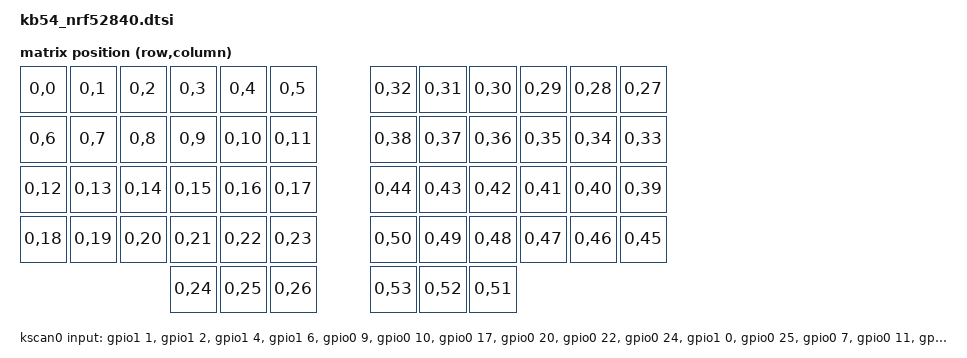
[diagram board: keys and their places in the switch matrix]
// Copyright (c) 2024 Nordic Semiconductor ASA
// SPDX-License-Identifier: Apache-2.0

/dts-v1/;
#include <nordic/nrf52840_qiaa.dtsi>
#include "kb54_nrf52840-pinctrl.dtsi"

#include <dt-bindings/zmk/matrix_transform.h>
#include <zephyr/dt-bindings/input/input-event-codes.h>
#include <zephyr/dt-bindings/regulator/nrf5x.h>


/ {
	compatible = "kb54_nrf52840";

	chosen {
		zmk,kscan = &kscan0;
		zmk,matrix-transform = &default_transform;
		zmk,battery = &fuel_gauge0;
        zephyr,display = &sharpdisp;
		zephyr,sram = &sram0;
		zephyr,flash = &flash0;
		zephyr,code-partition = &code_partition;
	};

	aliases {
		charging-pin = &pmic_charging;
		charging-err-pin = &pmic_err;
	};

	pmic {
		compatible = "gpio-keys";
		pmic_charging: pmic_charging {
			gpios = <&gpio0 29 (GPIO_PULL_UP | GPIO_ACTIVE_LOW)>;
			zephyr,code = <INPUT_KEY_0>;
		};
		pmic_err: pmic_err {
			gpios = <&gpio0 30 (GPIO_PULL_UP | GPIO_ACTIVE_LOW)>;
			zephyr,code = <INPUT_KEY_1>;
		};
	};

    default_transform: keymap_transform_0 {
        compatible = "zmk,matrix-transform";
        columns = <54>;
        rows = <1>;
        map = <
        RC(0,0)  RC(0,1)  RC(0,2)  RC(0,3)  RC(0,4) RC(0,5)		RC(0,32) RC(0,31) RC(0,30) RC(0,29) RC(0,28) RC(0,27)
        RC(0,6)  RC(0,7)  RC(0,8)  RC(0,9)  RC(0,10) RC(0,11)	RC(0,38) RC(0,37) RC(0,36) RC(0,35) RC(0,34) RC(0,33)
        RC(0,12) RC(0,13) RC(0,14) RC(0,15) RC(0,16) RC(0,17)   RC(0,44) RC(0,43) RC(0,42) RC(0,41) RC(0,40) RC(0,39)
        RC(0,18) RC(0,19) RC(0,20) RC(0,21) RC(0,22) RC(0,23)   RC(0,50) RC(0,49) RC(0,48) RC(0,47) RC(0,46) RC(0,45)
                                   RC(0,24) RC(0,25) RC(0,26)   RC(0,53) RC(0,52) RC(0,51)
        >;
    };

	kscan0: kscan {
		compatible = "zmk,kscan-gpio-direct";
		input-gpios
		= <&gpio1 1 GPIO_ACTIVE_LOW> // 1
		, <&gpio1 2 GPIO_ACTIVE_LOW> // 2
		, <&gpio1 4 GPIO_ACTIVE_LOW> // 3
		, <&gpio1 6 GPIO_ACTIVE_LOW> // 4
		, <&gpio0 9 GPIO_ACTIVE_LOW> // 5
		, <&gpio0 10 GPIO_ACTIVE_LOW> // 6
		, <&gpio0 17 GPIO_ACTIVE_LOW> // 7
		, <&gpio0 20 GPIO_ACTIVE_LOW> // 8
		, <&gpio0 22 GPIO_ACTIVE_LOW> // 9
		, <&gpio0 24 GPIO_ACTIVE_LOW> // 10
		, <&gpio1 0 GPIO_ACTIVE_LOW> // 11
		, <&gpio0 25 GPIO_ACTIVE_LOW> // 12
		, <&gpio0 7 GPIO_ACTIVE_LOW> // 13
		, <&gpio0 11 GPIO_ACTIVE_LOW> // 14
		, <&gpio0 16 GPIO_ACTIVE_LOW> // 15
		, <&gpio0 14 GPIO_ACTIVE_LOW> // 16
		, <&gpio0 13 GPIO_ACTIVE_LOW> // 17
		, <&gpio0 15 GPIO_ACTIVE_LOW> // 18
		, <&gpio1 15 GPIO_ACTIVE_LOW> // 19
		, <&gpio1 13 GPIO_ACTIVE_LOW>  // 20
		, <&gpio0 31 GPIO_ACTIVE_LOW> // 21
		, <&gpio0 4 GPIO_ACTIVE_LOW> // 22
		, <&gpio0 26 GPIO_ACTIVE_LOW> // 23
		, <&gpio0 27 GPIO_ACTIVE_LOW> // 24
		, <&gpio1 10 GPIO_ACTIVE_LOW> // 25
		, <&gpio1 12 GPIO_ACTIVE_LOW> // 26
		, <&gpio1 11 GPIO_ACTIVE_LOW> // 27
		;
	};
};

&i2c1 {
	status = "okay";
	pinctrl-0 = <&i2c1_default>;
	pinctrl-1 = <&i2c1_sleep>;
	pinctrl-names = "default", "sleep";
	fuel_gauge0: max17262@36 {
		compatible = "maxim,max17262";
		reg = <0x36>;
		design-voltage = <3600>;
		desired-voltage = <3600>;
		desired-charging-current = <2000>;
		design-cap = <33000>;
		empty-voltage = <3300>;
		recovery-voltage = <3880>;
		charge-voltage = <3600>;
		status = "okay";
	};
};

&spi0 {
	compatible = "nordic,nrf-spi";
	status = "okay";
	pinctrl-0 = <&spi0_default>;
	pinctrl-1 = <&spi0_sleep>;
	pinctrl-names = "default", "sleep";
	cs-gpios = < &gpio0 8 GPIO_ACTIVE_HIGH >;
	sharpdisp: sharpdisp@0 {
		compatible = "sharp,ls0xx";
		reg = <0>;
		spi-max-frequency = <1000000>;
		width = <128>;
		height = <128>;
	};
};

&flash0 {
    /*
     * For more information, see:
     * http://docs.zephyrproject.org/latest/devices/dts/flash_partitions.html
     */
    partitions {
        compatible = "fixed-partitions";
        #address-cells = <1>;
        #size-cells = <1>;

        sd_partition: partition@0 {
            reg = <0x00000000 0x00026000>;
        };
        code_partition: partition@26000 {
            reg = <0x00026000 0x000c6000>;
        };

        /*
         * The flash starting at 0x000ec000 and ending at
         * 0x000f3fff is reserved for use by the application.
         */

        /*
         * Storage partition will be used by FCB/LittleFS/NVS
         * if enabled.
         */
        storage_partition: partition@ec000 {
            reg = <0x000ec000 0x00008000>;
        };

        boot_partition: partition@f4000 {
            reg = <0x000f4000 0x0000c000>;
        };
    };
};


&ieee802154 {
	status = "okay";
};

&gpio0 {
	status = "okay";
};

&gpio1 {
	status = "okay";
};

&gpiote {
	status = "okay";
};

&uicr {
  nfct-pins-as-gpios;
};

&reg1 {
    regulator-initial-mode = <NRF5X_REG_MODE_DCDC>;
};
